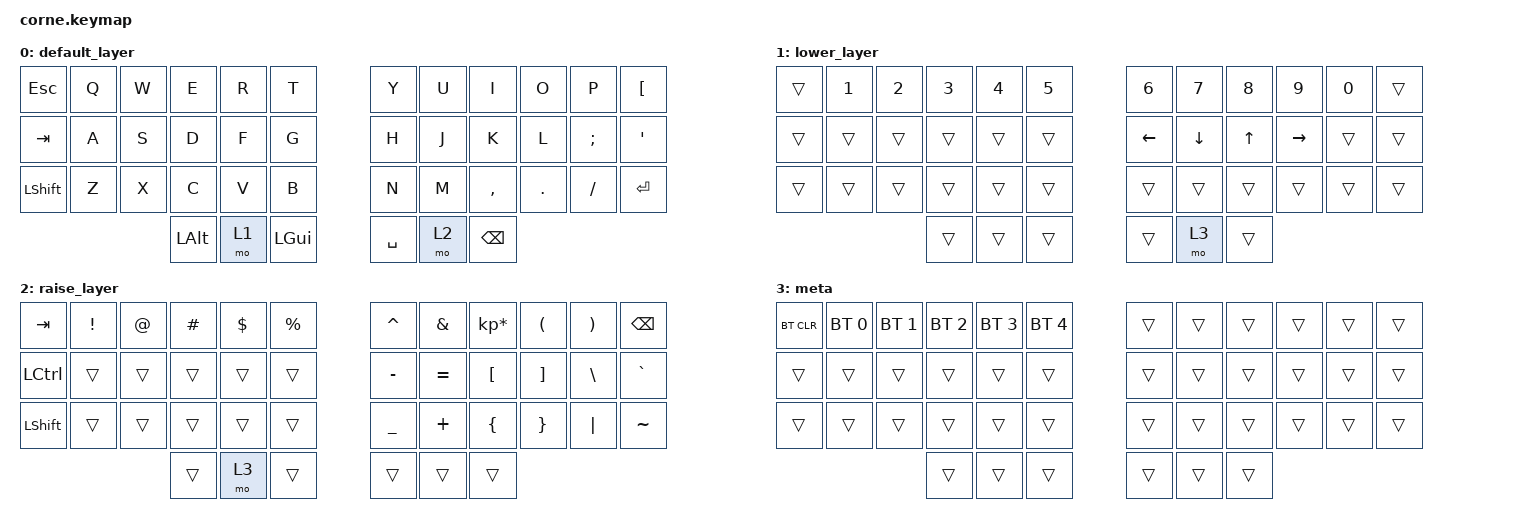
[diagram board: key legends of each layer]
/*
 * Copyright (c) 2020 The ZMK Contributors
 *
 * SPDX-License-Identifier: MIT
 */

#include <behaviors.dtsi>
#include <dt-bindings/zmk/bt.h>
#include <dt-bindings/zmk/keys.h>

/ {
    keymap {
        compatible = "zmk,keymap";

        default_layer {

            bindings = <
&kp ESCAPE  &kp Q  &kp W  &kp E         &kp R  &kp T           &kp Y      &kp U  &kp I          &kp O    &kp P     &kp LEFT_BRACKET
&kp TAB     &kp A  &kp S  &kp D         &kp F  &kp G           &kp H      &kp J  &kp K          &kp L    &kp SEMI  &kp SQT
&kp LSHFT   &kp Z  &kp X  &kp C         &kp V  &kp B           &kp N      &kp M  &kp COMMA      &kp DOT  &kp FSLH  &kp ENTER
                          &kp LEFT_ALT  &mo 1  &kp LEFT_GUI    &kp SPACE  &mo 2  &kp BACKSPACE
            >;
        };

        lower_layer {

            bindings = <
&trans  &kp N1  &kp N2  &kp N3  &kp N4  &kp N5    &kp N6    &kp N7    &kp N8  &kp N9     &kp N0  &trans
&trans  &trans  &trans  &trans  &trans  &trans    &kp LEFT  &kp DOWN  &kp UP  &kp RIGHT  &trans  &trans
&trans  &trans  &trans  &trans  &trans  &trans    &trans    &trans    &trans  &trans     &trans  &trans
                        &trans  &trans  &trans    &trans    &mo 3     &trans
            >;
        };

        raise_layer {

            bindings = <
&kp TAB    &kp EXCL  &kp AT  &kp HASH  &kp DLLR  &kp PRCNT    &kp CARET  &kp AMPS   &kp KP_MULTIPLY  &kp LPAR  &kp RPAR  &kp BSPC
&kp LCTRL  &trans    &trans  &trans    &trans    &trans       &kp MINUS  &kp EQUAL  &kp LBKT         &kp RBKT  &kp BSLH  &kp GRAVE
&kp LSHFT  &trans    &trans  &trans    &trans    &trans       &kp UNDER  &kp PLUS   &kp LBRC         &kp RBRC  &kp PIPE  &kp TILDE
                             &trans    &mo 3     &trans       &trans     &trans     &trans
            >;
        };

        meta {
            bindings = <
&bt BT_CLR  &bt BT_SEL 0  &bt BT_SEL 1  &bt BT_SEL 2  &bt BT_SEL 3  &bt BT_SEL 4    &trans  &trans  &trans  &trans  &trans  &trans
&trans      &trans        &trans        &trans        &trans        &trans          &trans  &trans  &trans  &trans  &trans  &trans
&trans      &trans        &trans        &trans        &trans        &trans          &trans  &trans  &trans  &trans  &trans  &trans
                                        &trans        &trans        &trans          &trans  &trans  &trans
            >;
        };
    };
};
